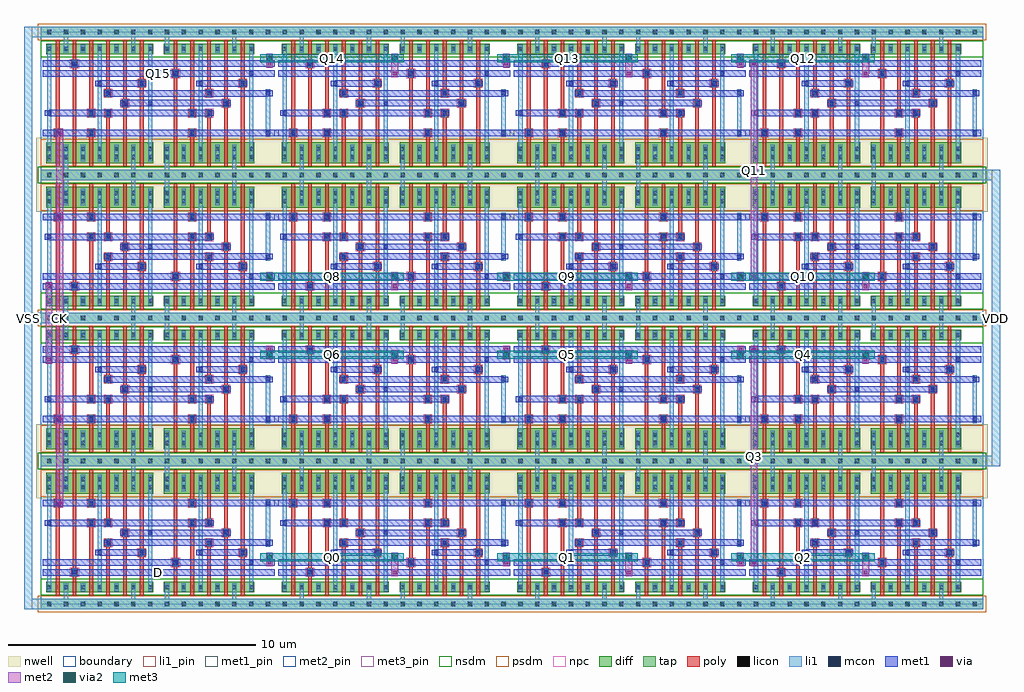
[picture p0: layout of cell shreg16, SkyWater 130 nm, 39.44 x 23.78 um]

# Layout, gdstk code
import gdstk
lib = gdstk.Library(unit=1e-6, precision=1e-09)
def R(c, l, rs):  # rectangles x0, y0, x1, y1
    for r in rs: c.add(gdstk.rectangle(r[:2], r[2:], *l))
def A(c, l, x, y, w, h, nx, ny, dx, dy):  # array of equal rectangles
    R(c, l, [(x+i*dx, y+j*dy, x+i*dx+w, y+j*dy+h) for i in range(nx) for j in range(ny)])
nwell = (64, 20)
diff = (65, 20)
tap = (65, 44)
poly = (66, 20)
licon = (66, 44)
li1_pin = (67, 16)
li1 = (67, 20)
mcon = (67, 44)
met1_pin = (68, 16)
met1 = (68, 20)
via = (68, 44)
met2_pin = (69, 16)
met2 = (69, 20)
via2 = (69, 44)
met3_pin = (70, 16)
met3 = (70, 20)
nsdm = (93, 44)
psdm = (94, 20)
npc = (95, 20)
boundary = (235, 4)

dff = lib.new_cell('dff')
R(dff, nwell, [(-0.18,4.285,9.7,6.165)])
R(dff, diff, [(0.215,0.475,4.545,0.895), (4.975,0.475,8.625,0.895), (0.215,4.465,4.545,5.305), (4.975,4.465,8.625,5.305)])
R(dff, tap, [(0,-0.205,9.52,0.205), (0,5.575,9.52,5.985)])
A(dff, poly, 0.605, 0.345, 0.15, 0.68, 6, 1, 0.68, 0)
A(dff, poly, 5.365, 0.345, 0.15, 0.68, 5, 1, 0.68, 0)
A(dff, poly, 0.605, 4.335, 0.15, 1.1, 6, 1, 0.68, 0)
A(dff, poly, 5.365, 4.335, 0.15, 1.1, 5, 1, 0.68, 0)
R(dff, poly, [(0.605,1.025,0.755,4.335), (1.285,1.025,1.435,4.335), (1.965,1.025,2.115,3.28), (2.645,1.025,2.795,2.48), (3.325,1.025,3.475,4.335), (4.005,1.025,4.155,4.335), (5.365,1.025,5.515,4.335), (6.045,1.025,6.195,3.28), (6.725,1.025,6.875,2.48), (7.405,1.025,7.555,4.335), (8.085,1.025,8.235,4.335), (1.225,1.115,1.495,1.445), (5.305,1.515,5.575,1.845), (3.945,1.915,4.215,2.245), (8.025,1.915,8.295,2.245), (2.585,2.315,2.855,2.645), (6.665,2.315,6.935,2.645), (3.265,2.715,3.535,3.045), (7.345,2.715,7.615,3.045), (1.905,3.115,2.175,3.445), (2.585,3.115,2.855,3.445), (5.985,3.115,6.255,3.445), (6.665,3.115,6.935,3.445), (2.645,3.28,2.795,4.335), (6.725,3.28,6.875,4.335), (0.545,3.915,0.815,4.245), (1.905,3.915,2.175,4.245), (5.985,3.915,6.255,4.245), (1.965,4.08,2.115,4.335), (6.045,4.08,6.195,4.335)])
A(dff, licon, 0.255, -0.085, 0.17, 0.17, 14, 2, 0.68, 5.78)
A(dff, licon, 0.255, 0.6, 0.17, 0.17, 13, 2, 0.68, 4.03)
A(dff, licon, 0.255, 4.97, 0.17, 0.17, 13, 1, 0.68, 0)
R(dff, licon, [(1.275,1.195,1.445,1.365), (5.355,1.595,5.525,1.765), (3.995,1.995,4.165,2.165), (8.075,1.995,8.245,2.165), (2.635,2.395,2.805,2.565), (6.715,2.395,6.885,2.565), (3.315,2.795,3.485,2.965), (7.395,2.795,7.565,2.965), (1.955,3.195,2.125,3.365), (2.635,3.195,2.805,3.365), (6.035,3.195,6.205,3.365), (6.715,3.195,6.885,3.365), (0.595,3.995,0.765,4.165), (1.955,3.995,2.125,4.165), (6.035,3.995,6.205,4.165)])
R(dff, li1_pin, [(0,-0.205,9.52,0.205), (0,5.575,9.52,5.985)])
A(dff, li1, 0.255, 0.52, 0.17, 0.33, 13, 1, 0.68, 0)
A(dff, li1, 0.255, 4.55, 0.17, 0.67, 13, 1, 0.68, 0)
R(dff, li1, [(0,-0.205,9.52,0.205), (0.935,0,1.105,0.52), (3.655,0,3.825,0.52), (5.015,0,5.185,0.52), (7.735,0,7.905,0.52), (0.255,0.85,0.425,3.28), (2.295,0.85,2.465,2.08), (4.335,0.85,4.505,2.88), (6.375,0.85,6.545,2.08), (8.415,0.85,8.585,1.68), (1.275,1.115,1.445,1.445), (5.355,1.515,5.525,1.845), (8.415,1.515,8.585,1.845), (8.415,1.515,8.585,1.845), (8.415,1.68,8.585,4.55), (2.295,1.915,2.465,2.245), (2.295,1.915,2.465,2.245), (3.995,1.915,4.165,2.245), (6.375,1.915,6.545,2.245), (6.375,1.915,6.545,2.245), (8.075,1.915,8.245,2.245), (2.295,2.08,2.465,4.55), (6.375,2.08,6.545,4.55), (2.635,2.315,2.805,2.645), (6.715,2.315,6.885,2.645), (9.095,2.315,9.265,2.645), (9.095,2.48,9.265,4.08), (3.315,2.715,3.485,3.045), (4.335,2.715,4.505,3.045), (4.335,2.715,4.505,3.045), (7.395,2.715,7.565,3.045), (4.335,2.88,4.505,4.55), (0.255,3.115,0.425,3.445), (0.255,3.115,0.425,3.445), (1.955,3.115,2.125,3.445), (2.635,3.115,2.805,3.445), (6.035,3.115,6.205,3.445), (6.715,3.115,6.885,3.445), (0.255,3.28,0.425,4.55), (0.595,3.915,0.765,4.245), (1.955,3.915,2.125,4.245), (6.035,3.915,6.205,4.245), (9.095,3.915,9.265,4.245), (0.935,5.22,1.105,5.78), (3.655,5.22,3.825,5.78), (5.015,5.22,5.185,5.78), (7.735,5.22,7.905,5.78), (0,5.575,9.52,5.985)])
R(dff, mcon, [(1.275,1.195,1.445,1.365), (5.355,1.595,5.525,1.765), (8.415,1.595,8.585,1.765), (8.415,1.595,8.585,1.765), (2.295,1.995,2.465,2.165), (2.295,1.995,2.465,2.165), (3.995,1.995,4.165,2.165), (6.375,1.995,6.545,2.165), (6.375,1.995,6.545,2.165), (8.075,1.995,8.245,2.165), (2.635,2.395,2.805,2.565), (6.715,2.395,6.885,2.565), (9.095,2.395,9.265,2.565), (3.315,2.795,3.485,2.965), (4.335,2.795,4.505,2.965), (4.335,2.795,4.505,2.965), (7.395,2.795,7.565,2.965), (0.255,3.195,0.425,3.365), (0.255,3.195,0.425,3.365), (1.955,3.195,2.125,3.365), (2.635,3.195,2.805,3.365), (6.035,3.195,6.205,3.365), (6.715,3.195,6.885,3.365), (0.595,3.995,0.765,4.165), (1.955,3.995,2.125,4.165), (6.035,3.995,6.205,4.165), (9.095,3.995,9.265,4.165)])
R(dff, met1_pin, [(0.07,1.15,9.45,1.41), (0.07,1.55,9.45,1.81), (0.07,3.95,9.45,4.21)])
R(dff, met1, [(0.07,1.15,9.45,1.41), (1.175,1.165,1.545,1.395), (0.07,1.55,9.45,1.81), (5.255,1.565,5.625,1.795), (8.315,1.565,8.685,1.795), (8.315,1.565,8.685,1.795), (2.38,1.95,4.08,2.21), (6.46,1.95,8.16,2.21), (2.195,1.965,2.565,2.195), (2.195,1.965,2.565,2.195), (3.895,1.965,4.265,2.195), (6.275,1.965,6.645,2.195), (6.275,1.965,6.645,2.195), (7.975,1.965,8.345,2.195), (2.72,2.35,9.18,2.61), (2.535,2.365,2.905,2.595), (6.615,2.365,6.985,2.595), (8.995,2.365,9.365,2.595), (3.4,2.75,7.48,3.01), (3.215,2.765,3.585,2.995), (4.235,2.765,4.605,2.995), (4.235,2.765,4.605,2.995), (7.295,2.765,7.665,2.995), (0.34,3.15,6.8,3.41), (0.155,3.165,0.525,3.395), (0.155,3.165,0.525,3.395), (1.855,3.165,2.225,3.395), (2.535,3.165,2.905,3.395), (5.935,3.165,6.305,3.395), (6.615,3.165,6.985,3.395), (0.07,3.95,9.45,4.21), (0.495,3.965,0.865,4.195), (1.855,3.965,2.225,4.195), (5.935,3.965,6.305,4.195), (8.995,3.965,9.365,4.195)])
R(dff, nsdm, [(0,0.35,9.52,1.02), (-0.125,5.45,9.645,6.11)])
R(dff, psdm, [(-0.125,-0.33,9.645,0.33), (0,4.34,9.52,5.43)])
R(dff, npc, [(1.175,1.095,1.545,1.465), (5.255,1.495,5.625,1.865), (3.895,1.895,4.265,2.265), (7.975,1.895,8.345,2.265), (2.535,2.295,2.905,2.665), (6.615,2.295,6.985,2.665), (3.215,2.695,3.585,3.065), (7.295,2.695,7.665,3.065), (1.855,3.095,2.225,3.465), (2.535,3.095,2.905,3.465), (5.935,3.095,6.305,3.465), (6.615,3.095,6.985,3.465), (0.495,3.895,0.865,4.265), (1.855,3.895,2.225,4.265), (5.935,3.895,6.305,4.265)])
R(dff, boundary, [(0,0,9.52,5.78)])
dff.add(gdstk.Label('VSS', (4.76,0), layer=67, texttype=16))
dff.add(gdstk.Label('VDD', (4.76,5.78), layer=67, texttype=16))
dff.add(gdstk.Label('VSS', (4.76,0), layer=67, texttype=5))
dff.add(gdstk.Label('VDD', (4.76,5.78), layer=67, texttype=5))
dff.add(gdstk.Label('Q', (4.76,1.68), layer=68, texttype=16))
dff.add(gdstk.Label('CK', (4.76,4.08), layer=68, texttype=16))
dff.add(gdstk.Label('D', (4.76,1.28), layer=68, texttype=16))
dff.add(gdstk.Label('Q', (4.76,1.68), layer=68, texttype=5))
dff.add(gdstk.Label('CK', (4.76,4.08), layer=68, texttype=5))
dff.add(gdstk.Label('D', (4.76,1.28), layer=68, texttype=5))

shreg16 = lib.new_cell('shreg16')
R(shreg16, li1_pin, [(-0.68,-0.205,-0.34,23.325), (38.42,5.575,38.76,17.545)])
A(shreg16, li1, -0.68, -0.205, 0.68, 0.41, 1, 3, 0, 11.56)
R(shreg16, li1, [(-0.68,-0.205,-0.34,23.325), (38.08,5.575,38.76,5.985), (38.42,5.575,38.76,17.545), (38.08,17.135,38.76,17.545)])
R(shreg16, met1_pin, [(0.07,1.15,9.45,1.41), (0.07,21.31,9.45,21.57)])
A(shreg16, met1, 9.45, 3.95, 0.14, 0.26, 3, 2, 9.52, 3.4)
A(shreg16, met1, 9.45, 15.51, 0.14, 0.26, 3, 2, 9.52, 3.4)
R(shreg16, met1, [(14.14,1.15,14.46,1.41), (23.6,1.15,23.92,1.41), (33.17,1.15,33.49,1.41), (9.08,1.55,9.4,1.81), (18.65,1.55,18.97,1.81), (28.11,1.55,28.43,1.81), (28.66,1.55,28.98,1.81), (0.61,3.95,0.93,4.21), (0.61,7.35,0.93,7.61), (0.17,9.75,0.49,10.01), (14.14,9.75,14.46,10.01), (23.6,9.75,23.92,10.01), (33.17,9.75,33.49,10.01), (9.08,10.15,9.4,10.41), (18.65,10.15,18.97,10.41), (28.11,10.15,28.43,10.41), (28.66,10.15,28.98,10.41), (0.17,12.71,0.49,12.97), (14.14,12.71,14.46,12.97), (23.6,12.71,23.92,12.97), (33.17,12.71,33.49,12.97), (9.08,13.11,9.4,13.37), (18.65,13.11,18.97,13.37), (28.11,13.11,28.43,13.37), (28.66,13.11,28.98,13.37), (0.61,15.51,0.93,15.77), (0.61,18.91,0.93,19.17), (14.14,21.31,14.46,21.57), (23.6,21.31,23.92,21.57), (33.17,21.31,33.49,21.57), (9.08,21.71,9.4,21.97), (18.65,21.71,18.97,21.97), (28.11,21.71,28.43,21.97), (28.66,21.71,28.98,21.97)])
R(shreg16, via, [(14.225,1.205,14.375,1.355), (23.685,1.205,23.835,1.355), (33.255,1.205,33.405,1.355), (9.165,1.605,9.315,1.755), (18.735,1.605,18.885,1.755), (28.195,1.605,28.345,1.755), (28.745,1.605,28.895,1.755), (0.695,4.005,0.845,4.155), (0.695,7.405,0.845,7.555), (0.255,9.805,0.405,9.955), (14.225,9.805,14.375,9.955), (23.685,9.805,23.835,9.955), (33.255,9.805,33.405,9.955), (9.165,10.205,9.315,10.355), (18.735,10.205,18.885,10.355), (28.195,10.205,28.345,10.355), (28.745,10.205,28.895,10.355), (0.255,12.765,0.405,12.915), (14.225,12.765,14.375,12.915), (23.685,12.765,23.835,12.915), (33.255,12.765,33.405,12.915), (9.165,13.165,9.315,13.315), (18.735,13.165,18.885,13.315), (28.195,13.165,28.345,13.315), (28.745,13.165,28.895,13.315), (0.695,15.565,0.845,15.715), (0.695,18.965,0.845,19.115), (14.225,21.365,14.375,21.515), (23.685,21.365,23.835,21.515), (33.255,21.365,33.405,21.515), (9.165,21.765,9.315,21.915), (18.735,21.765,18.885,21.915), (28.195,21.765,28.345,21.915), (28.745,21.765,28.895,21.915)])
R(shreg16, met2_pin, [(28.68,1.68,28.96,10.28), (0.63,4.08,0.91,19.04), (0.19,9.88,0.47,12.84), (28.68,13.24,28.96,21.84)])
R(shreg16, met2, [(14.17,1.12,14.43,1.44), (23.63,1.12,23.89,1.44), (33.2,1.12,33.46,1.44), (14.16,1.28,14.44,1.89), (23.62,1.28,23.9,1.89), (33.19,1.28,33.47,1.89), (9.11,1.52,9.37,1.84), (18.68,1.52,18.94,1.84), (28.14,1.52,28.4,1.84), (28.69,1.52,28.95,1.84), (9.1,1.68,9.38,1.89), (18.67,1.68,18.95,1.89), (28.13,1.68,28.41,1.89), (28.68,1.68,28.96,10.28), (9.1,1.705,9.38,2.075), (14.16,1.705,14.44,2.075), (18.67,1.705,18.95,2.075), (23.62,1.705,23.9,2.075), (28.13,1.705,28.41,2.075), (33.19,1.705,33.47,2.075), (0.64,3.92,0.9,4.24), (0.63,4.08,0.91,19.04), (0.64,7.32,0.9,7.64), (0.2,9.72,0.46,10.04), (14.17,9.72,14.43,10.04), (23.63,9.72,23.89,10.04), (33.2,9.72,33.46,10.04), (0.19,9.88,0.47,12.84), (14.16,9.88,14.44,10.08), (23.62,9.88,23.9,10.08), (33.19,9.88,33.47,10.08), (9.1,9.895,9.38,10.265), (14.16,9.895,14.44,10.265), (18.67,9.895,18.95,10.265), (23.62,9.895,23.9,10.265), (28.13,9.895,28.41,10.265), (33.19,9.895,33.47,10.265), (9.1,10.08,9.38,10.28), (18.67,10.08,18.95,10.28), (28.13,10.08,28.41,10.28), (9.11,10.12,9.37,10.44), (18.68,10.12,18.94,10.44), (28.14,10.12,28.4,10.44), (28.69,10.12,28.95,10.44), (0.2,12.68,0.46,13), (14.17,12.68,14.43,13), (23.63,12.68,23.89,13), (33.2,12.68,33.46,13), (14.16,12.84,14.44,13.23), (23.62,12.84,23.9,13.23), (33.19,12.84,33.47,13.23), (9.1,13.045,9.38,13.415), (14.16,13.045,14.44,13.415), (18.67,13.045,18.95,13.415), (23.62,13.045,23.9,13.415), (28.13,13.045,28.41,13.415), (33.19,13.045,33.47,13.415), (9.11,13.08,9.37,13.4), (18.68,13.08,18.94,13.4), (28.14,13.08,28.4,13.4), (28.69,13.08,28.95,13.4), (9.1,13.23,9.38,13.24), (18.67,13.23,18.95,13.24), (28.13,13.23,28.41,13.24), (28.68,13.24,28.96,21.84), (0.64,15.48,0.9,15.8), (0.64,18.88,0.9,19.2), (14.17,21.28,14.43,21.6), (23.63,21.28,23.89,21.6), (33.2,21.28,33.46,21.6), (14.16,21.44,14.44,22.05), (23.62,21.44,23.9,22.05), (33.19,21.44,33.47,22.05), (9.11,21.68,9.37,22), (18.68,21.68,18.94,22), (28.14,21.68,28.4,22), (28.69,21.68,28.95,22), (9.1,21.84,9.38,22.05), (18.67,21.84,18.95,22.05), (28.13,21.84,28.41,22.05), (9.1,21.865,9.38,22.235), (14.16,21.865,14.44,22.235), (18.67,21.865,18.95,22.235), (23.62,21.865,23.9,22.235), (28.13,21.865,28.41,22.235), (33.19,21.865,33.47,22.235)])
R(shreg16, via2, [(9.14,1.79,9.34,1.99), (14.2,1.79,14.4,1.99), (18.71,1.79,18.91,1.99), (23.66,1.79,23.86,1.99), (28.17,1.79,28.37,1.99), (33.23,1.79,33.43,1.99), (9.14,9.98,9.34,10.18), (14.2,9.98,14.4,10.18), (18.71,9.98,18.91,10.18), (23.66,9.98,23.86,10.18), (28.17,9.98,28.37,10.18), (33.23,9.98,33.43,10.18), (9.14,13.13,9.34,13.33), (14.2,13.13,14.4,13.33), (18.71,13.13,18.91,13.33), (23.66,13.13,23.86,13.33), (28.17,13.13,28.37,13.33), (33.23,13.13,33.43,13.33), (9.14,21.95,9.34,22.15), (14.2,21.95,14.4,22.15), (18.71,21.95,18.91,22.15), (23.66,21.95,23.86,22.15), (28.17,21.95,28.37,22.15), (33.23,21.95,33.43,22.15)])
R(shreg16, met3_pin, [(9.24,1.725,14.3,2.055), (18.81,1.725,23.76,2.055), (28.27,1.725,33.33,2.055), (9.24,9.915,14.3,10.245), (18.81,9.915,23.76,10.245), (28.27,9.915,33.33,10.245), (9.24,13.065,14.3,13.395), (18.81,13.065,23.76,13.395), (28.27,13.065,33.33,13.395), (9.24,21.885,14.3,22.215), (18.81,21.885,23.76,22.215), (28.27,21.885,33.33,22.215)])
R(shreg16, met3, [(8.875,1.725,9.605,2.055), (9.24,1.725,14.3,2.055), (13.935,1.725,14.665,2.055), (18.445,1.725,19.175,2.055), (18.81,1.725,23.76,2.055), (23.395,1.725,24.125,2.055), (27.905,1.725,28.635,2.055), (28.27,1.725,33.33,2.055), (32.965,1.725,33.695,2.055), (8.875,9.915,9.605,10.245), (9.24,9.915,14.3,10.245), (13.935,9.915,14.665,10.245), (18.445,9.915,19.175,10.245), (18.81,9.915,23.76,10.245), (23.395,9.915,24.125,10.245), (27.905,9.915,28.635,10.245), (28.27,9.915,33.33,10.245), (32.965,9.915,33.695,10.245), (8.875,13.065,9.605,13.395), (9.24,13.065,14.3,13.395), (13.935,13.065,14.665,13.395), (18.445,13.065,19.175,13.395), (18.81,13.065,23.76,13.395), (23.395,13.065,24.125,13.395), (27.905,13.065,28.635,13.395), (28.27,13.065,33.33,13.395), (32.965,13.065,33.695,13.395), (8.875,21.885,9.605,22.215), (9.24,21.885,14.3,22.215), (13.935,21.885,14.665,22.215), (18.445,21.885,19.175,22.215), (18.81,21.885,23.76,22.215), (23.395,21.885,24.125,22.215), (27.905,21.885,28.635,22.215), (28.27,21.885,33.33,22.215), (32.965,21.885,33.695,22.215)])
shreg16.add(gdstk.Reference(dff, (0,0)))
shreg16.add(gdstk.Reference(dff, (9.52,0)))
shreg16.add(gdstk.Reference(dff, (19.04,0)))
shreg16.add(gdstk.Reference(dff, (28.56,0)))
shreg16.add(gdstk.Reference(dff, (0,11.56), x_reflection=True))
shreg16.add(gdstk.Reference(dff, (9.52,11.56), x_reflection=True))
shreg16.add(gdstk.Reference(dff, (19.04,11.56), x_reflection=True))
shreg16.add(gdstk.Reference(dff, (28.56,11.56), x_reflection=True))
shreg16.add(gdstk.Reference(dff, (0,11.56)))
shreg16.add(gdstk.Reference(dff, (9.52,11.56)))
shreg16.add(gdstk.Reference(dff, (19.04,11.56)))
shreg16.add(gdstk.Reference(dff, (28.56,11.56)))
shreg16.add(gdstk.Reference(dff, (0,23.12), x_reflection=True))
shreg16.add(gdstk.Reference(dff, (9.52,23.12), x_reflection=True))
shreg16.add(gdstk.Reference(dff, (19.04,23.12), x_reflection=True))
shreg16.add(gdstk.Reference(dff, (28.56,23.12), x_reflection=True))
shreg16.add(gdstk.Label('VSS', (-0.51,11.56), layer=67, texttype=16))
shreg16.add(gdstk.Label('VDD', (38.59,11.56), layer=67, texttype=16))
shreg16.add(gdstk.Label('VSS', (-0.51,11.56), layer=67, texttype=5))
shreg16.add(gdstk.Label('VDD', (38.59,11.56), layer=67, texttype=5))
shreg16.add(gdstk.Label('D', (4.76,1.28), layer=68, texttype=16))
shreg16.add(gdstk.Label('Q15', (4.76,21.44), layer=68, texttype=16))
shreg16.add(gdstk.Label('D', (4.76,1.28), layer=68, texttype=5))
shreg16.add(gdstk.Label('Q15', (4.76,21.44), layer=68, texttype=5))
shreg16.add(gdstk.Label('Q11', (28.82,17.54), layer=69, texttype=16))
shreg16.add(gdstk.Label('Q3', (28.82,5.98), layer=69, texttype=16))
shreg16.add(gdstk.Label('Q7', (0.33,11.36), layer=69, texttype=16))
shreg16.add(gdstk.Label('CK', (0.77,11.56), layer=69, texttype=16))
shreg16.add(gdstk.Label('Q11', (28.82,17.54), layer=69, texttype=5))
shreg16.add(gdstk.Label('Q3', (28.82,5.98), layer=69, texttype=5))
shreg16.add(gdstk.Label('Q7', (0.33,11.36), layer=69, texttype=5))
shreg16.add(gdstk.Label('CK', (0.77,11.56), layer=69, texttype=5))
shreg16.add(gdstk.Label('Q0', (11.77,1.89), layer=70, texttype=16))
shreg16.add(gdstk.Label('Q1', (21.285,1.89), layer=70, texttype=16))
shreg16.add(gdstk.Label('Q10', (30.8,13.23), layer=70, texttype=16))
shreg16.add(gdstk.Label('Q12', (30.8,22.05), layer=70, texttype=16))
shreg16.add(gdstk.Label('Q13', (21.285,22.05), layer=70, texttype=16))
shreg16.add(gdstk.Label('Q14', (11.77,22.05), layer=70, texttype=16))
shreg16.add(gdstk.Label('Q2', (30.8,1.89), layer=70, texttype=16))
shreg16.add(gdstk.Label('Q4', (30.8,10.08), layer=70, texttype=16))
shreg16.add(gdstk.Label('Q5', (21.285,10.08), layer=70, texttype=16))
shreg16.add(gdstk.Label('Q6', (11.77,10.08), layer=70, texttype=16))
shreg16.add(gdstk.Label('Q8', (11.77,13.23), layer=70, texttype=16))
shreg16.add(gdstk.Label('Q9', (21.285,13.23), layer=70, texttype=16))
shreg16.add(gdstk.Label('Q0', (11.77,1.89), layer=70, texttype=5))
shreg16.add(gdstk.Label('Q1', (21.285,1.89), layer=70, texttype=5))
shreg16.add(gdstk.Label('Q10', (30.8,13.23), layer=70, texttype=5))
shreg16.add(gdstk.Label('Q12', (30.8,22.05), layer=70, texttype=5))
shreg16.add(gdstk.Label('Q13', (21.285,22.05), layer=70, texttype=5))
shreg16.add(gdstk.Label('Q14', (11.77,22.05), layer=70, texttype=5))
shreg16.add(gdstk.Label('Q2', (30.8,1.89), layer=70, texttype=5))
shreg16.add(gdstk.Label('Q4', (30.8,10.08), layer=70, texttype=5))
shreg16.add(gdstk.Label('Q5', (21.285,10.08), layer=70, texttype=5))
shreg16.add(gdstk.Label('Q6', (11.77,10.08), layer=70, texttype=5))
shreg16.add(gdstk.Label('Q8', (11.77,13.23), layer=70, texttype=5))
shreg16.add(gdstk.Label('Q9', (21.285,13.23), layer=70, texttype=5))

lib.write_gds('shreg16.gds')
